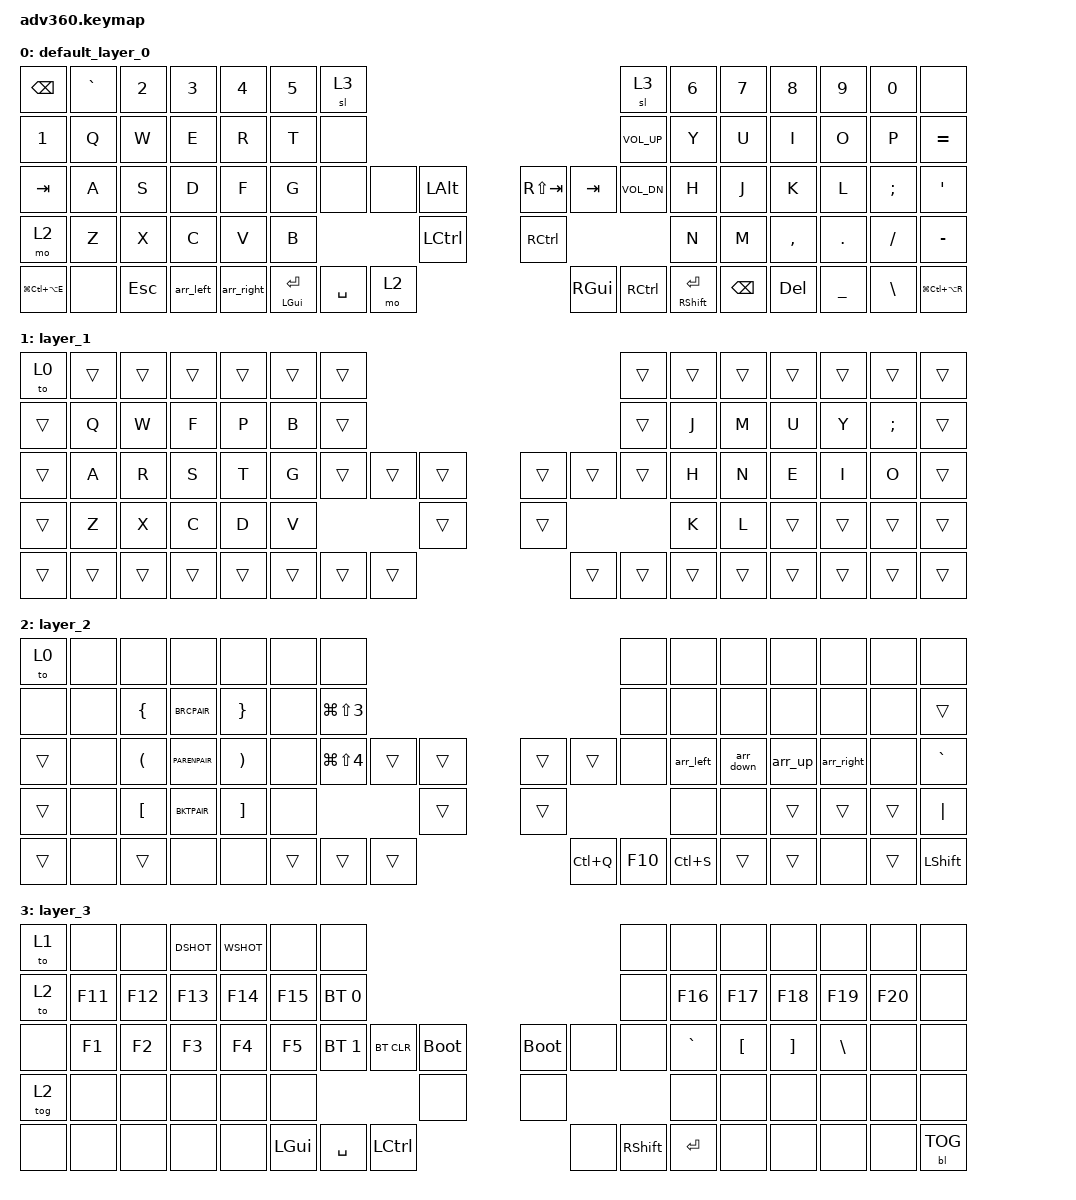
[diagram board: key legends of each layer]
/*
 * Copyright (c) 2020 The ZMK Contributors
 *
 * SPDX-License-Identifier: MIT
 */

#include <behaviors.dtsi>
#include <dt-bindings/zmk/keys.h>
#include <dt-bindings/zmk/bt.h>
#include <dt-bindings/zmk/backlight.h>

/ {
    behaviors {
      #include "behaviors.dtsi"
      #include "macros.dtsi"
    };
    combos {
      #include "combos.dtsi"
    };

    keymap {
        compatible = "zmk,keymap";

        default_layer_0 { // Default QWERTY layer
            bindings = <
 &kp BSPC        &kp GRAVE   &kp N2    &kp N3     &kp N4     &kp N5    &sl 3                                                                   &sl 3           &kp N6   &kp N7     &kp N8     &kp N9     &kp N0    &none
 &kp N1          &kp Q       &kp W     &kp E      &kp R      &kp T     &none                                                                   &kp C_VOL_UP    &kp Y    &kp U      &kp I      &kp O      &kp P     &kp EQUAL
 &kp TAB         &kp A       &kp S     &kp D      &kp F      &kp G     &none          &none      &kp LALT                &kp RS(TAB) &kp TAB   &kp C_VOL_DN    &kp H    &kp J      &kp K      &kp L      &kp SEMI  &kp SQT
 &mo 2           &kp Z       &kp X     &kp C      &kp V      &kp B                               &kp LCTRL               &kp RCTRL                             &kp N    &kp M      &kp COMMA  &kp DOT    &kp FSLH  &kp MINUS
 &kp LG(LC(LA(E))) &none     &kp ESC   &arr_left  &arr_right           &mt LGUI ENTER &kp SPACE  &mo 2                   &kp RGUI    &kp RCTRL &mt RSHFT ENTER          &kp BSPC   &kp DEL    &kp UNDER  &kp BSLH  &kp LG(LC(LA(R)))
            >;
        };

        layer_1 { // COLEMAK layer (to enable, press ESC while in the MGMT layer; to disable, press ESC)
            bindings = <
 &to 0   &trans  &trans  &trans  &trans  &trans &trans                                            &trans  &trans  &trans  &trans  &trans  &trans   &trans
 &trans  &kp Q   &kp W   &kp F   &kp P   &kp B  &trans                                            &trans  &kp J   &kp M   &kp U   &kp Y   &kp SEMI &trans
 &trans  &kp A   &kp R   &kp S   &kp T   &kp G  &trans  &trans    &trans        &trans  &trans    &trans  &kp H   &kp N   &kp E   &kp I   &kp O    &trans
 &trans  &kp Z   &kp X   &kp C   &kp D   &kp V                    &trans        &trans                    &kp K   &kp L   &trans  &trans  &trans   &trans
 &trans  &trans  &trans  &trans  &trans         &trans  &trans    &trans        &trans  &trans    &trans          &trans  &trans  &trans  &trans   &trans
            >;
        };

        layer_2 { // Movements+etc layer (to enable, press LEFT SHIFT button or Right-Thumb-2 key)
            bindings = <
 &to 0    &none      &none        &none      &none       &none       &none                                                   &none   &none      &none     &none      &none      &none      &none
 &none    &none      &kp LBRC     &BRCPAIR   &kp RBRC    &none       &kp LG(LS(N3))                                          &none   &none      &none     &none      &none      &none      &trans
 &trans   &none      &kp LPAR     &PARENPAIR &kp RPAR    &none       &kp LG(LS(N4)) &trans  &trans           &trans  &trans  &none   &arr_left  &arr_down &arr_up    &arr_right &none      &kp GRAVE
 &trans   &none      &kp LBKT     &BKTPAIR   &kp RBKT    &none                              &trans           &trans                  &none      &none     &trans     &trans     &trans     &kp PIPE
 &trans   &none      &trans       &none      &none                   &trans         &trans  &trans           &kp LC(Q) &kp F10 &kp LC(S)        &trans    &trans     &none      &trans     &kp LSHFT
            >;
        };

        layer_3 { // MGMT layer (to enable, press the key to the right of the NUM5 / to the left of the NUM6)
            bindings = <
 &to 1   &none    &none    &DSHOT      &WSHOT   &none     &none                                                                 &none   &none    &none    &none    &none     &none     &none
 &to 2   &kp F11  &kp F12  &kp F13     &kp F14  &kp F15   &bt BT_SEL 0                                                          &none   &kp F16  &kp F17  &kp F18  &kp F19   &kp F20   &none
 &none   &kp F1   &kp F2   &kp F3      &kp F4   &kp F5    &bt BT_SEL 1  &bt BT_CLR  &bootloader           &bootloader   &none   &none   &kp GRAVE &kp LBKT &kp RBKT &kp BSLH &none     &none
 &tog 2  &none    &none    &none       &none    &none                               &none                 &none                         &none    &none    &none    &none     &none     &none
 &none   &none    &none    &none       &none              &kp LGUI      &kp SPACE   &kp LCTRL             &none         &kp RSHFT &kp ENTER      &none    &none    &none     &none     &bl BL_TOG
            >;
        };

    };
};

// vim: nowrap:filetype=dts
